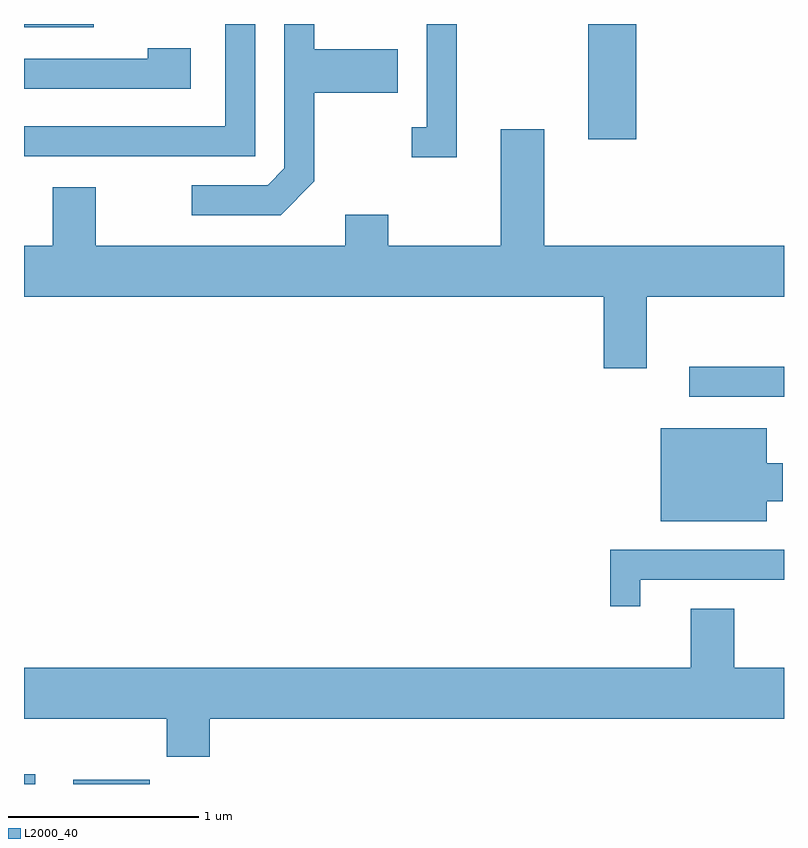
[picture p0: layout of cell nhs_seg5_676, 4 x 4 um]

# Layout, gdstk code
import gdstk
lib = gdstk.Library(unit=1e-6, precision=1e-09)
def R(c, l, rs):  # rectangles x0, y0, x1, y1
    for r in rs: c.add(gdstk.rectangle(r[:2], r[2:], *l))
def P(c, l, *ps):  # polygons
    for p in ps: c.add(gdstk.Polygon(p, *l))
L2000_40 = (2000, 40)

nhs_seg5_676 = lib.new_cell('nhs_seg5_676')
R(nhs_seg5_676, L2000_40, [(205.611,1392.072,205.669,1392.124), (205.871,1392.072,206.274,1392.094), (209.113,1394.111,209.611,1394.269), (208.581,1395.466,208.834,1396.072), (205.611,1396.056,205.978,1396.072)])
P(nhs_seg5_676, L2000_40, [(207.889,1396.072),(207.731,1396.072),(207.731,1395.529),(207.653,1395.529),(207.653,1395.371),(207.889,1395.371)],
  [(206.829,1396.072),(206.671,1396.072),(206.671,1395.534),(205.611,1395.534),(205.611,1395.376),(206.829,1395.376)],
  [(207.139,1395.244),(207.139,1395.711),(207.579,1395.711),(207.579,1395.939),(207.139,1395.939),(207.139,1396.072),(206.981,1396.072),(206.981,1395.312),(206.894,1395.224),(206.493,1395.224),(206.493,1395.066),(206.962,1395.066)],
  [(206.489,1395.944),(206.261,1395.944),(206.261,1395.889),(205.611,1395.889),(205.611,1395.731),(206.489,1395.731)],
  [(208.889,1394.636),(209.611,1394.636),(209.611,1394.904),(208.349,1394.904),(208.349,1395.519),(208.121,1395.519),(208.121,1394.904),(207.529,1394.904),(207.529,1395.069),(207.301,1395.069),(207.301,1394.904),(205.989,1394.904),(205.989,1395.214),(205.761,1395.214),(205.761,1394.904),(205.611,1394.904),(205.611,1394.636),(208.661,1394.636),(208.661,1394.261),(208.889,1394.261)],
  [(209.519,1393.561),(209.604,1393.561),(209.604,1393.759),(209.519,1393.759),(209.519,1393.944),(208.961,1393.944),(208.961,1393.456),(209.519,1393.456)],
  [(208.854,1393.146),(209.611,1393.146),(209.611,1393.304),(208.696,1393.304),(208.696,1393.008),(208.854,1393.008)],
  [(206.589,1392.416),(209.611,1392.416),(209.611,1392.684),(209.349,1392.684),(209.349,1392.994),(209.121,1392.994),(209.121,1392.684),(205.611,1392.684),(205.611,1392.416),(206.361,1392.416),(206.361,1392.216),(206.589,1392.216)])

lib.write_gds('nhs_seg5_676.gds')
